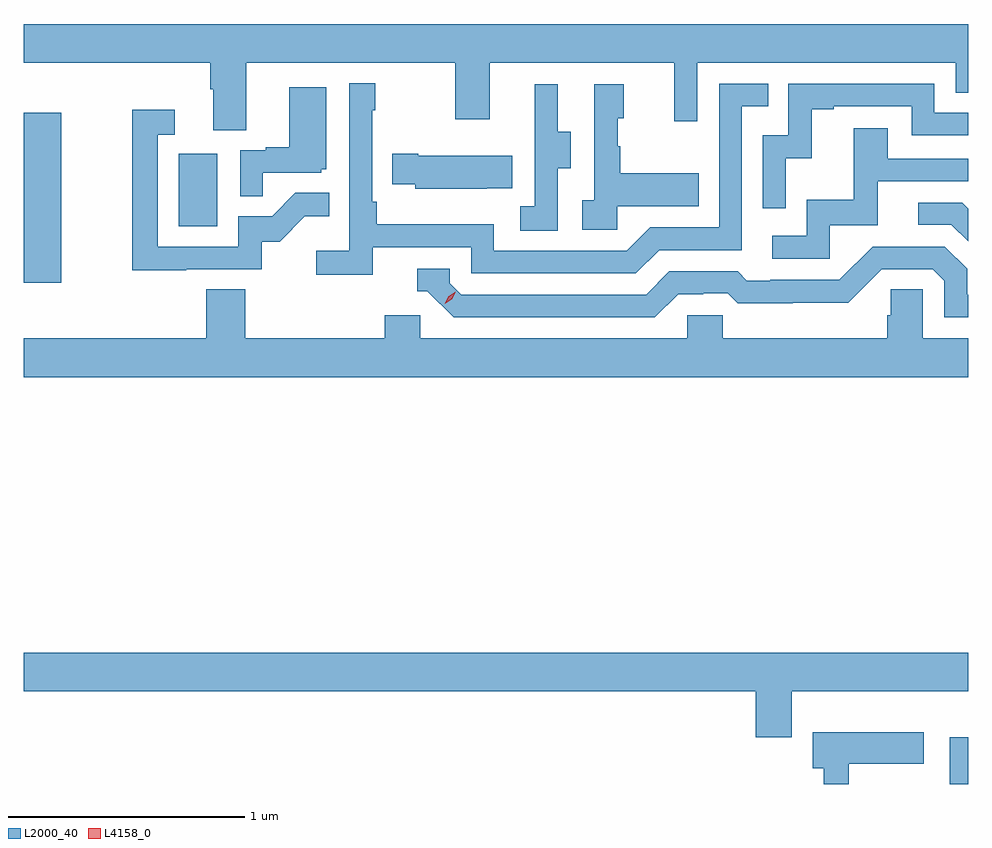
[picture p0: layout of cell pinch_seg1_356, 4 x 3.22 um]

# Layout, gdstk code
import gdstk
lib = gdstk.Library(unit=1e-6, precision=1e-09)
def R(c, l, rs):  # rectangles x0, y0, x1, y1
    for r in rs: c.add(gdstk.rectangle(r[:2], r[2:], *l))
def P(c, l, *ps):  # polygons
    for p in ps: c.add(gdstk.Polygon(p, *l))
L2000_40 = (2000, 40)
L4158_0 = (4158, 0)

pinch_seg1_356 = lib.new_cell('pinch_seg1_356')
R(pinch_seg1_356, L2000_40, [(974.891,544.68,974.969,544.879), (970.969,546.804,971.128,547.525), (971.624,547.044,971.788,547.351)])
P(pinch_seg1_356, L2000_40, [(971.911,547.736),(972.796,547.736),(972.796,547.497),(972.943,547.497),(972.943,547.736),(973.724,547.736),(973.724,547.488),(973.821,547.488),(973.821,547.736),(974.916,547.736),(974.916,547.609),(974.969,547.609),(974.969,547.9),(970.969,547.9),(970.969,547.736),(971.759,547.736),(971.759,547.624),(971.771,547.624),(971.771,547.45),(971.911,547.45)],
  [(972.446,546.954),(972.864,546.954),(972.864,546.843),(973.561,546.843),(973.66,546.942),(974.01,546.942),(974.01,547.551),(974.123,547.551),(974.123,547.647),(973.914,547.647),(973.914,547.038),(973.623,547.038),(973.524,546.939),(972.96,546.939),(972.96,547.051),(972.464,547.051),(972.464,547.147),(972.444,547.147),(972.444,547.535),(972.457,547.535),(972.457,547.648),(972.348,547.648),(972.348,546.94),(972.207,546.94),(972.207,546.838),(972.446,546.838)],
  [(974.196,547.331),(974.306,547.331),(974.306,547.539),(974.401,547.539),(974.401,547.551),(974.73,547.551),(974.73,547.428),(974.969,547.428),(974.969,547.524),(974.826,547.524),(974.826,547.647),(974.208,547.647),(974.208,547.428),(974.1,547.428),(974.1,547.119),(974.196,547.119)],
  [(973.482,547.127),(973.829,547.127),(973.829,547.267),(973.495,547.267),(973.495,547.382),(973.485,547.382),(973.485,547.5),(973.51,547.5),(973.51,547.645),(973.386,547.645),(973.386,547.154),(973.335,547.154),(973.335,547.029),(973.482,547.029)],
  [(973.23,547.288),(973.285,547.288),(973.285,547.443),(973.231,547.443),(973.231,547.645),(973.133,547.645),(973.133,547.431),(973.134,547.431),(973.134,547.127),(973.071,547.127),(973.071,547.024),(973.23,547.024)],
  [(971.981,547.269),(972.228,547.269),(972.228,547.284),(972.25,547.284),(972.25,547.633),(972.092,547.633),(972.092,547.378),(971.993,547.378),(971.993,547.365),(971.886,547.365),(971.886,547.171),(971.981,547.171)],
  [(971.657,546.861),(971.976,546.861),(971.976,546.978),(972.052,546.978),(972.159,547.085),(972.263,547.085),(972.263,547.184),(972.119,547.184),(972.021,547.086),(971.877,547.086),(971.877,546.957),(971.535,546.957),(971.535,547.431),(971.608,547.431),(971.608,547.537),(971.427,547.537),(971.427,546.856),(971.657,546.856)],
  [(974.382,547.047),(974.587,547.047),(974.587,547.233),(974.969,547.233),(974.969,547.329),(974.629,547.329),(974.629,547.459),(974.485,547.459),(974.485,547.156),(974.286,547.156),(974.286,547.002),(974.139,547.002),(974.139,546.906),(974.382,546.906)],
  [(972.929,547.205),(973.037,547.205),(973.037,547.342),(972.64,547.342),(972.64,547.35),(972.529,547.35),(972.529,547.22),(972.627,547.22),(972.627,547.202),(972.929,547.202)],
  [(974.969,547.118),(974.944,547.143),(974.757,547.143),(974.757,547.05),(974.898,547.05),(974.969,546.979)],
  [(973.741,546.756),(973.848,546.756),(973.848,546.759),(973.951,546.759),(973.993,546.717),(974.226,546.717),(974.226,546.719),(974.462,546.719),(974.604,546.861),(974.82,546.861),(974.868,546.813),(974.868,546.657),(974.969,546.657),(974.969,546.753),(974.965,546.753),(974.965,546.863),(974.871,546.957),(974.565,546.957),(974.424,546.816),(974.131,546.816),(974.131,546.813),(974.032,546.813),(973.993,546.852),(973.704,546.852),(973.605,546.753),(972.822,546.753),(972.774,546.801),(972.774,546.864),(972.635,546.864),(972.635,546.768),(972.678,546.768),(972.789,546.657),(973.642,546.657)],
  [(974.969,546.568),(974.778,546.568),(974.778,546.776),(974.641,546.776),(974.641,546.666),(974.627,546.666),(974.627,546.568),(973.929,546.568),(973.929,546.666),(973.779,546.666),(973.779,546.568),(972.648,546.568),(972.648,546.666),(972.497,546.666),(972.497,546.568),(971.906,546.568),(971.906,546.776),(971.741,546.776),(971.741,546.568),(970.969,546.568),(970.969,546.404),(974.969,546.404)],
  [(974.221,545.072),(974.969,545.072),(974.969,545.236),(970.969,545.236),(970.969,545.072),(974.069,545.072),(974.069,544.878),(974.221,544.878)],
  [(974.464,544.766),(974.782,544.766),(974.782,544.9),(974.312,544.9),(974.312,544.746),(974.357,544.746),(974.357,544.68),(974.464,544.68)])
P(pinch_seg1_356, L4158_0, [(972.751,546.714),(972.751,546.715),(972.768,546.747),(972.798,546.766),(972.799,546.766),(972.799,546.766),(972.782,546.734),(972.752,546.714)])

lib.write_gds('pinch_seg1_356.gds')
